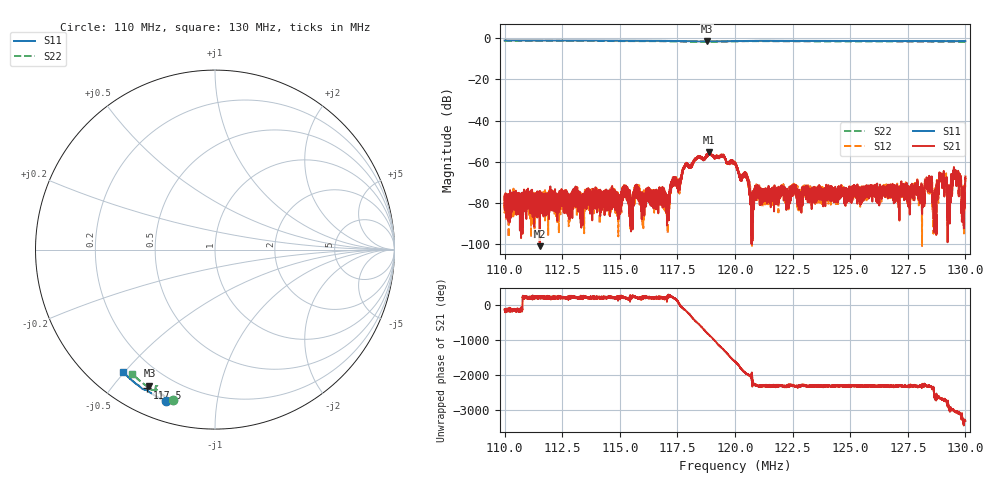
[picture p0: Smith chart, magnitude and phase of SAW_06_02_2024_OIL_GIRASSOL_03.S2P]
!Agilent Technologies,E5071C,MY46520923,B.12.03
!Date: Tue Feb 06 11:12:09 2024
!Data & Calibration Information:
!Freq	S11:SOLT2(ON)	S21:SOLT2(ON)	S12:SOLT2(ON)	S22:SOLT2(ON)
!PortZ  Port1:50+j0  Port2:50+j0
!Above PortZ is port z conversion or system Z0 setting when saving the data.
!When reading, reference impedance value at option line is always used.
# Hz S dB R 50
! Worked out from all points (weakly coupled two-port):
!   10000 points, 110 MHz to 130 MHz, reference 50 ohm
!   highest |S21| = -55.37 dB at 118.9 MHz (marker M1); lowest = -101.2 dB at 111.5 MHz (marker M2)
!   lowest |S11| = -1.5 dB at 118.8 MHz (marker M3), VSWR 11.59, Z = 6 - j31.1 ohm
!   |S11| at or under -10 dB: nowhere
!   |S22| runs from -1.7 to -1.2 dB; largest |S21 - S12| = 0.00023
!   S11 on the Smith chart (normalised r, x): 110 MHz: 0.09, -0.72; 117.5 MHz: 0.10, -0.62; 130 MHz: 0.10, -0.50
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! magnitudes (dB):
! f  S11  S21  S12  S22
! 110 MHz  -1.0  -76.6  -81.7  -1.2
! 111.5 MHz  -1.0  -101.2  -79.9  -1.2
! 113.3 MHz  -1.1  -79.0  -78.2  -1.3
! 116.7 MHz  -1.2  -78.0  -79.8  -1.4
! 117.1 MHz  -1.2  -83.9  -85.7  -1.4
! 117.3 MHz  -1.3  -69.7  -70.5  -1.5
! 117.5 MHz  -1.3  -71.7  -71.4  -1.5
! 117.8 MHz  -1.4  -61.8  -61.8  -1.6
! 118.8 MHz  -1.5  -57.5  -57.5  -1.7
! 118.9 MHz  -1.5  -55.4  -55.7  -1.7
! 120 MHz  -1.3  -61.3  -60.9  -1.4
! 120.5 MHz  -1.2  -66.2  -66.4  -1.4
! 120.7 MHz  -1.2  -89.2  -87.9  -1.3
! 123.3 MHz  -1.2  -75.8  -79.8  -1.4
! 126.7 MHz  -1.3  -72.6  -73.1  -1.5
! 128.5 MHz  -1.3  -73.1  -75.6  -1.6
! 128.7 MHz  -1.4  -78.4  -77.9  -1.6
! 129 MHz  -1.4  -67.0  -67.6  -1.6
! 129.3 MHz  -1.4  -73.6  -73.8  -1.6
! 129.6 MHz  -1.4  -65.3  -65.0  -1.6
! 129.9 MHz  -1.4  -73.6  -74.4  -1.6
! 130 MHz  -1.4  -67.2  -67.9  -1.6
